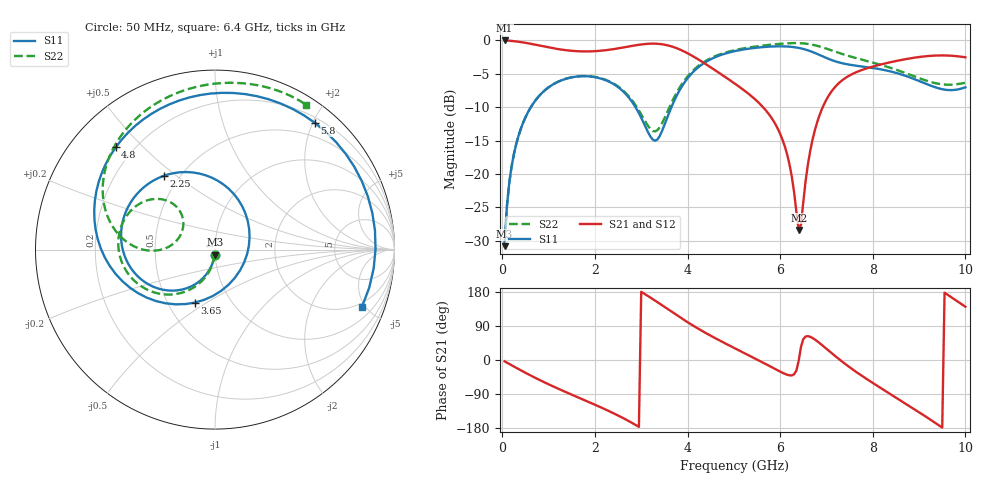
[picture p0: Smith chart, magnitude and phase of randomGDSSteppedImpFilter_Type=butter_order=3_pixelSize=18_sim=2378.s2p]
! freq	dB(S11)	phase(S11)	dB(S12)	phase(S12)
!  dB(S21)	phase(S21)	dB(S22)	phase(S22)
!S-par simulation data
#  GHz  S  DB  R 50
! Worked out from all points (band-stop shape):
!   200 points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, 50 MHz to 10 GHz, reference 50 ohm
!   highest |S21| = -0.01 dB at 50 MHz (marker M1); lowest = -28.4 dB at 6.4 GHz (marker M2)
!   |S21| within 3 dB of the highest: start of sweep to 4.27 GHz; 8.558 GHz to end of sweep
!   lowest |S11| = -30.8 dB at 50 MHz (marker M3), VSWR 1.06, Z = 49.7 - j2.86 ohm
!   |S11| at or under -10 dB: start of sweep to 617 MHz; 2.876 GHz to 3.652 GHz (775.4 MHz wide, 23.8 % of centre)
!   |S22| runs from -30.8 to -0.4 dB; largest |S21 - S12| = 0
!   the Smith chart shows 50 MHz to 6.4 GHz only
!   S11 on the Smith chart (normalised r, x): 50 MHz: 0.99, -0.06; 2.25 GHz: 0.41, +0.45; 3.65 GHz: 0.68, -0.45; 4.8 GHz: 0.13, +0.42; 5.8 GHz: 0.28, +2.03; 6.4 GHz: 1.69, -4.74
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0.05  -30.80 -93.7  -0.01 -3.5  -0.01 -3.5  -30.80 -93.3
0.2  -18.91 -104.9  -0.08 -13.8  -0.08 -13.8  -18.90 -103.5
0.5  -11.52 -126.0  -0.36 -33.7  -0.36 -33.7  -11.51 -122.4
1.75  -5.36 156.9  -1.65 -104.7  -1.65 -104.7  -5.33 173.1
2.25  -6.01 124.9  -1.46 -131.7  -1.46 -131.7  -5.95 151.6
2.95  -10.90 57.9  -0.66 -176.4  -0.66 -176.4  -10.48 132.1
3.4  -14.31 -55.0  -0.53 148.5  -0.53 148.5  -13.00 168.7
3.65  -10.03 -110.7  -0.89 127.9  -0.89 127.9  -9.40 -178.9
4.25  -3.93 179.4  -2.92 81.2  -2.92 81.2  -3.73 160.0
4.8  -2.00 134.2  -5.42 44.7  -5.42 44.7  -1.86 133.2
5.05  -1.56 115.0  -6.61 29.3  -6.61 29.3  -1.41 121.6
5.8  -0.92 51.8  -11.46 -17.8  -11.46 -17.8  -0.64 87.5
6.15  -0.91 13.1  -17.05 -38.8  -17.05 -38.8  -0.44 70.7
6.4  -1.12 -21.3  -28.38 -2.0  -28.38 -2.0  -0.41 57.8
6.7  -1.74 -71.4  -14.84 58.0  -14.84 58.0  -0.65 41.5
7.05  -2.78 -136.9  -8.25 24.5  -8.25 24.5  -1.35 23.6
7.3  -3.35 178.7  -6.20 -0.5  -6.20 -0.5  -1.94 12.3
7.8  -3.93 106.4  -4.35 -44.6  -4.35 -44.6  -2.95 -8.6
8.35  -4.59 43.0  -3.32 -87.5  -3.32 -87.5  -4.04 -31.7
8.8  -5.54 -7.1  -2.70 -122.1  -2.70 -122.1  -5.13 -49.4
9.3  -6.90 -69.5  -2.29 -161.9  -2.29 -161.9  -6.32 -65.2
10  -7.03 -168.9  -2.53 140.6  -2.53 140.6  -6.34 -85.0
